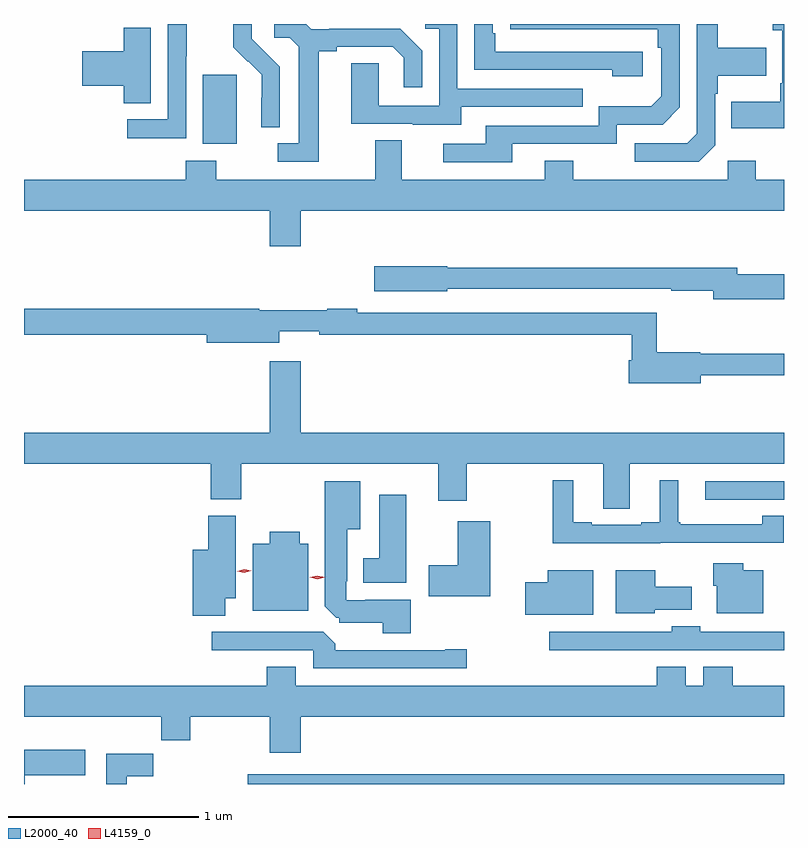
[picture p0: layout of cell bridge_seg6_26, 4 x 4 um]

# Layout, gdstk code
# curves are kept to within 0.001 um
import gdstk
lib = gdstk.Library(unit=1e-6, precision=1e-09)
def R(c, l, rs):  # rectangles x0, y0, x1, y1
    for r in rs: c.add(gdstk.rectangle(r[:2], r[2:], *l))
def P(c, l, *ps):  # polygons
    for p in ps: c.add(gdstk.Polygon(p, *l))
L2000_40 = (2000, 40)
L4159_0 = (4159, 0)

bridge_seg6_26 = lib.new_cell('bridge_seg6_26')
R(bridge_seg6_26, L2000_40, [(932.125,949.647,934.947,949.699), (934.533,951.144,934.947,951.24), (931.889,953.018,932.068,953.379)])
P(bridge_seg6_26, L2000_40, [(933.247,953.211),(933.887,953.211),(933.887,953.307),(933.228,953.307),(933.228,953.647),(933.06,953.647),(933.06,953.622),(933.132,953.622),(933.132,953.217),(932.814,953.217),(932.814,953.441),(932.669,953.441),(932.669,953.121),(932.993,953.121),(932.993,953.117),(933.247,953.117)],
  [(934.947,953.647),(934.887,953.647),(934.887,953.615),(934.938,953.615),(934.938,953.335),(934.926,953.335),(934.926,953.239),(934.669,953.239),(934.669,953.099),(934.947,953.099)],
  [(934.204,953.502),(933.427,953.502),(933.427,953.599),(933.414,953.599),(933.414,953.647),(933.318,953.647),(933.318,953.406),(934.043,953.406),(934.043,953.372),(934.204,953.372)],
  [(932.292,953.422),(932.146,953.57),(932.146,953.647),(932.047,953.647),(932.047,953.525),(932.124,953.448),(932.127,953.451),(932.198,953.381),(932.198,953.258),(932.196,953.258),(932.196,953.104),(932.292,953.104)],
  [(931.8,953.476),(931.803,953.476),(931.803,953.647),(931.704,953.647),(931.704,953.145),(931.491,953.145),(931.491,953.047),(931.8,953.047)],
  [(932.497,953.504),(932.593,953.504),(932.593,953.526),(932.888,953.526),(932.945,953.469),(932.945,953.313),(933.042,953.313),(933.042,953.506),(932.926,953.622),(932.554,953.622),(932.554,953.619),(932.46,953.619),(932.432,953.647),(932.265,953.647),(932.265,953.574),(932.346,953.574),(932.393,953.527),(932.393,953.019),(932.283,953.019),(932.283,952.923),(932.497,952.923)],
  [(934.584,953.01),(934.584,953.279),(934.597,953.279),(934.597,953.375),(934.853,953.375),(934.853,953.523),(934.597,953.523),(934.597,953.647),(934.488,953.647),(934.488,953.07),(934.437,953.019),(934.161,953.019),(934.161,952.923),(934.497,952.923)],
  [(933.517,953.016),(934.068,953.016),(934.068,953.118),(934.308,953.118),(934.398,953.208),(934.398,953.647),(933.505,953.647),(933.505,953.62),(934.282,953.619),(934.282,953.522),(934.302,953.522),(934.302,953.268),(934.249,953.215),(933.972,953.215),(933.972,953.112),(933.377,953.112),(933.377,953.016),(933.153,953.016),(933.153,952.92),(933.517,952.92)],
  [(931.615,953.627),(931.472,953.627),(931.472,953.504),(931.254,953.504),(931.254,953.321),(931.472,953.321),(931.472,953.23),(931.615,953.23)],
  [(932.404,952.664),(934.947,952.664),(934.947,952.828),(934.797,952.828),(934.797,952.927),(934.65,952.927),(934.65,952.828),(933.837,952.828),(933.837,952.927),(933.689,952.927),(933.689,952.828),(932.935,952.828),(932.935,953.036),(932.795,953.036),(932.795,952.828),(931.959,952.828),(931.959,952.927),(931.799,952.927),(931.799,952.828),(930.947,952.828),(930.947,952.664),(932.24,952.664),(932.24,952.476),(932.404,952.476)],
  [(934.947,952.329),(934.702,952.329),(934.702,952.363),(933.174,952.363),(933.174,952.371),(932.79,952.371),(932.79,952.241),(933.174,952.241),(933.174,952.254),(934.354,952.254),(934.354,952.242),(934.574,952.242),(934.574,952.199),(934.947,952.199)],
  [(934.51,951.798),(934.947,951.798),(934.947,951.911),(934.506,951.911),(934.506,951.919),(934.277,951.919),(934.277,952.128),(932.702,952.128),(932.702,952.148),(932.544,952.148),(932.544,952.141),(932.186,952.141),(932.186,952.148),(930.947,952.148),(930.947,952.012),(931.91,952.012),(931.91,951.97),(932.29,951.97),(932.29,952.031),(932.5,952.031),(932.5,952.012),(934.145,952.012),(934.145,951.877),(934.13,951.877),(934.13,951.755),(934.51,951.755)],
  [(934.135,951.332),(934.947,951.332),(934.947,951.496),(932.404,951.496),(932.404,951.871),(932.24,951.871),(932.24,951.496),(930.947,951.496),(930.947,951.332),(931.931,951.332),(931.931,951.145),(932.091,951.145),(932.091,951.332),(933.128,951.332),(933.128,951.138),(933.276,951.138),(933.276,951.332),(933.995,951.332),(933.995,951.097),(934.135,951.097)],
  [(934.296,950.916),(934.945,950.916),(934.945,951.059),(934.832,951.059),(934.832,951.013),(934.402,951.013),(934.402,951.025),(934.39,951.025),(934.39,951.247),(934.292,951.247),(934.292,951.025),(934.196,951.025),(934.196,951.012),(933.934,951.012),(933.934,951.025),(933.838,951.025),(933.838,951.247),(933.729,951.247),(933.729,950.915),(934.296,950.915)],
  [(932.983,950.617),(932.743,950.617),(932.743,950.613),(932.643,950.613),(932.643,950.713),(932.647,950.713),(932.647,950.987),(932.716,950.987),(932.716,951.241),(932.531,951.241),(932.531,950.583),(932.591,950.523),(932.607,950.523),(932.607,950.496),(932.834,950.496),(932.834,950.441),(932.983,950.441)],
  [(932.959,951.169),(932.816,951.169),(932.816,950.836),(932.732,950.836),(932.732,950.705),(932.959,950.705)],
  [(932.005,950.624),(932.062,950.624),(932.062,951.06),(931.916,951.06),(931.916,950.881),(931.835,950.881),(931.835,950.533),(932.005,950.533)],
  [(933.4,951.031),(933.23,951.031),(933.23,950.799),(933.078,950.799),(933.078,950.636),(933.4,950.636)],
  [(932.443,950.911),(932.398,950.911),(932.398,950.974),(932.24,950.974),(932.24,950.911),(932.15,950.911),(932.15,950.558),(932.443,950.558)],
  [(934.837,950.773),(934.732,950.773),(934.732,950.809),(934.574,950.809),(934.574,950.691),(934.592,950.691),(934.592,950.546),(934.837,950.546)],
  [(933.943,950.773),(933.704,950.773),(933.704,950.708),(933.585,950.708),(933.585,950.537),(933.943,950.537)],
  [(934.266,950.564),(934.462,950.564),(934.462,950.686),(934.27,950.686),(934.27,950.773),(934.061,950.773),(934.061,950.546),(934.266,950.546)],
  [(934.256,950.352),(934.759,950.352),(934.759,950.351),(934.947,950.351),(934.947,950.448),(934.506,950.448),(934.506,950.476),(934.356,950.476),(934.356,950.448),(933.711,950.448),(933.711,950.351),(934.256,950.351)],
  [(933.277,950.357),(933.164,950.357),(933.164,950.352),(932.585,950.352),(932.585,950.386),(932.523,950.448),(931.935,950.448),(931.935,950.352),(932.469,950.352),(932.469,950.256),(933.277,950.256)],
  [(932.404,950),(934.947,950),(934.947,950.164),(934.676,950.164),(934.676,950.263),(934.523,950.263),(934.523,950.164),(934.429,950.164),(934.429,950.263),(934.277,950.263),(934.277,950.164),(932.377,950.164),(932.377,950.263),(932.225,950.263),(932.225,950.164),(930.947,950.164),(930.947,950),(931.669,950),(931.669,949.876),(931.821,949.876),(931.821,950),(932.24,950),(932.24,949.812),(932.404,949.812)],
  [(930.952,949.694),(931.27,949.694),(931.27,949.828),(930.947,949.828),(930.947,949.647),(930.952,949.647)],
  [(931.489,949.688),(931.628,949.688),(931.628,949.807),(931.379,949.807),(931.379,949.647),(931.489,949.647)])
P(bridge_seg6_26, L4159_0, [(932.106,950.758),(932.069,950.768),(932.069,950.768),(932.069,950.768),(932.105,950.778),(932.142,950.769),(932.142,950.769),(932.142,950.769)],
  [(932.491,950.724),(932.45,950.735),(932.45,950.735),(932.45,950.735),(932.491,950.744),(932.532,950.734),(932.532,950.734),(932.532,950.734)])

lib.write_gds('bridge_seg6_26.gds')
